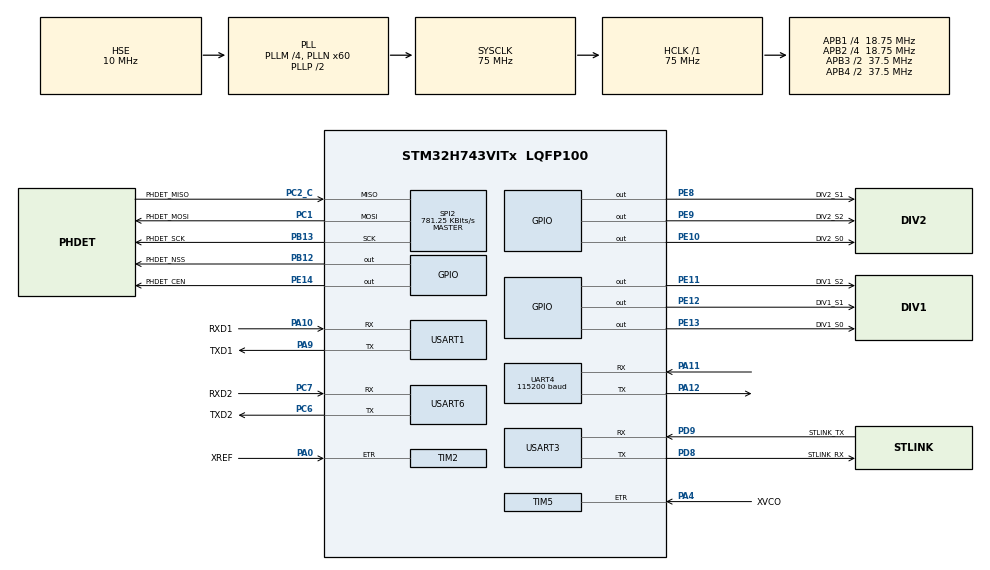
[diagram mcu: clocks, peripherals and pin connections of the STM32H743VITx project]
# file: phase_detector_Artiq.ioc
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CORTEX_M7.CPU_DCache=Disabled
CORTEX_M7.CPU_ICache=Disabled
CORTEX_M7.MPU_Control=__NULL
CORTEX_M7.default_mode_Activation=0
Mcu.Family=STM32H7
Mcu.Name=STM32H743VITx
Mcu.Package=LQFP100
NVIC.PriorityGroup=NVIC_PRIORITYGROUP_4
NVIC.TIM6_DAC_IRQn=true\:0\:0\:false\:false\:true\:true\:true\:true
PA0.GPIO_Label=XREF
PA0.GPIO_Speed=GPIO_SPEED_FREQ_VERY_HIGH
PA0.Signal=S_TIM2_CH1_ETR
PA10.GPIO_Label=RXD1
PA10.Mode=Asynchronous
PA10.Signal=USART1_RX
PA11.Mode=Asynchronous
PA11.Signal=UART4_RX
PA12.Mode=Asynchronous
PA12.Signal=UART4_TX
PA13\ (JTMS/SWDIO).Mode=JTAG_4_pins
PA13\ (JTMS/SWDIO).Signal=DEBUG_JTMS-SWDIO
PA14\ (JTCK/SWCLK).Mode=JTAG_4_pins
PA14\ (JTCK/SWCLK).Signal=DEBUG_JTCK-SWCLK
PA15\ (JTDI).Mode=JTAG_4_pins
PA15\ (JTDI).Signal=DEBUG_JTDI
PA4.GPIO_Label=XVCO
PA4.Signal=S_TIM5_ETR
PA9.GPIO_Label=TXD1
PA9.Mode=Asynchronous
PA9.Signal=USART1_TX
PB12.GPIO_Label=PHDET_NSS
PB12.Signal=GPIO_Output
PB13.GPIO_Label=PHDET_SCK
PB13.Mode=Full_Duplex_Master
PB13.Signal=SPI2_SCK
PB3\ (JTDO/TRACESWO).Mode=JTAG_4_pins
PB3\ (JTDO/TRACESWO).Signal=DEBUG_JTDO-SWO
PC1.GPIO_Label=PHDET_MOSI
PC1.Mode=Full_Duplex_Master
PC1.Signal=SPI2_MOSI
PC2_C.GPIO_Label=PHDET_MISO
PC2_C.Mode=Full_Duplex_Master
PC2_C.Signal=SPI2_MISO
PC6.GPIO_Label=TXD2
PC6.Mode=Asynchronous
PC6.Signal=USART6_TX
PC7.GPIO_Label=RXD2
PC7.Mode=Asynchronous
PC7.Signal=USART6_RX
PD8.GPIO_Label=STLINK_RX
PD8.Mode=Asynchronous
PD8.Signal=USART3_TX
PD9.GPIO_Label=STLINK_TX
PD9.Mode=Asynchronous
PD9.Signal=USART3_RX
PE10.GPIO_Label=DIV2_S0
PE10.GPIO_PuPd=GPIO_PULLDOWN
PE10.PinState=GPIO_PIN_SET
PE10.Signal=GPIO_Output
PE11.GPIO_Label=DIV1_S2
PE11.GPIO_PuPd=GPIO_PULLDOWN
PE11.PinState=GPIO_PIN_SET
PE11.Signal=GPIO_Output
PE12.GPIO_Label=DIV1_S1
PE12.GPIO_PuPd=GPIO_PULLDOWN
PE12.PinState=GPIO_PIN_SET
PE12.Signal=GPIO_Output
PE13.GPIO_Label=DIV1_S0
PE13.GPIO_PuPd=GPIO_PULLDOWN
PE13.PinState=GPIO_PIN_SET
PE13.Signal=GPIO_Output
PE14.GPIO_Label=PHDET_CEN
PE14.GPIO_PuPd=GPIO_PULLUP
PE14.PinState=GPIO_PIN_SET
PE14.Signal=GPIO_Output
PE8.GPIO_Label=DIV2_S1
PE8.GPIO_PuPd=GPIO_PULLDOWN
PE8.PinState=GPIO_PIN_SET
PE8.Signal=GPIO_Output
PE9.GPIO_Label=DIV2_S2
PE9.GPIO_PuPd=GPIO_PULLDOWN
PE9.PinState=GPIO_PIN_SET
PE9.Signal=GPIO_Output
PH0-OSC_IN\ (PH0).Mode=HSE-External-Oscillator
PH0-OSC_IN\ (PH0).Signal=RCC_OSC_IN
PH1-OSC_OUT\ (PH1).Mode=HSE-External-Oscillator
PH1-OSC_OUT\ (PH1).Signal=RCC_OSC_OUT
ProjectManager.HeapSize=0x200
ProjectManager.StackSize=0x400
ProjectManager.TargetToolchain=STM32CubeIDE
RCC.ADCFreq_Value=90000000
RCC.APB1Freq_Value=18750000
RCC.APB2Freq_Value=18750000
RCC.APB3Freq_Value=37500000
RCC.APB4Freq_Value=37500000
RCC.CortexFreq_Value=75000000
RCC.D1PPRE=RCC_APB3_DIV2
RCC.D2PPRE1=RCC_APB1_DIV4
RCC.D2PPRE2=RCC_APB2_DIV4
RCC.D3PPRE=RCC_APB4_DIV2
RCC.DIVM1=4
RCC.DIVM2=1
RCC.DIVN1=60
RCC.DIVN2=18
RCC.DIVQ1=3
RCC.HCLKFreq_Value=75000000
RCC.HSE_VALUE=10000000
RCC.HSIDiv=RCC_PLLSAIDIVR_2
RCC.PLLFRACN=0
RCC.PLLSourceVirtual=RCC_PLLSOURCE_HSE
RCC.SYSCLKFreq_VALUE=75000000
RCC.SYSCLKSource=RCC_SYSCLKSOURCE_PLLCLK
RCC.USBFreq_Value=50000000
SH.S_TIM2_CH1_ETR.0=TIM2_ETR,ClockSourceETR_Mode2
SH.S_TIM5_ETR.0=TIM5_ETR,ClockSourceETR_Mode2
SPI2.BaudRatePrescaler=SPI_BAUDRATEPRESCALER_64
SPI2.CalculateBaudRate=781.25 KBits/s
SPI2.DataSize=SPI_DATASIZE_8BIT
SPI2.Direction=SPI_DIRECTION_2LINES
SPI2.Mode=SPI_MODE_MASTER
SPI2.VirtualType=VM_MASTER
TIM2.ClockFilter=0
TIM6.Period=1000
TIM6.Prescaler=75
UART4.BaudRate=115200
UART4.WordLength=WORDLENGTH_8B
USART1.VirtualMode-Asynchronous=VM_ASYNC
USART3.VirtualMode-Asynchronous=VM_ASYNC
USART6.VirtualMode=VM_ASYNC
VP_MEMORYMAP_VS_MEMORYMAP.Mode=CurAppReg
VP_TIM6_VS_ClockSourceINT.Mode=Enable_Timer
board=NUCLEO-H743ZI2

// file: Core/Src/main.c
/* USER CODE BEGIN Header */
/**
  ******************************************************************************
  * @file           : main.c
  * @brief          : Main program body
  ******************************************************************************
  * @attention
  *
  * Copyright (c) 2024 STMicroelectronics.
  * All rights reserved.
  *
  * This software is licensed under terms that can be found in the LICENSE file
  * in the root directory of this software component.
  * If no LICENSE file comes with this software, it is provided AS-IS.
  *
  ******************************************************************************
  */
/* USER CODE END Header */
#include "main.h"

/* USER CODE BEGIN Includes */
#include "interface.h"
/* USER CODE END Includes */

/* USER CODE BEGIN PD */
#define FLASH_PARAM_START_ADDR  ((uint32_t)0x081E0000)  // bank 2, sektor 7
#define FLASH_WORD_SIZE        (32)  // Flash word = 256-bit = 32 bytes
#define BUFFER_SIZE 100
#define MAX(a,b) (((a)>(b))?(a):(b))
/* USER CODE END PD */

SPI_HandleTypeDef hspi2;

TIM_HandleTypeDef htim2;
TIM_HandleTypeDef htim5;
TIM_HandleTypeDef htim6;

UART_HandleTypeDef huart4;
UART_HandleTypeDef huart1;
UART_HandleTypeDef huart3;
UART_HandleTypeDef huart6;

/* USER CODE BEGIN PV */

void Flash_Write_Params(uint32_t address, parameters *data) {
  HAL_FLASH_Unlock();  // Odblokowanie pamięci flash

  FLASH_EraseInitTypeDef eraseInitStruct;
  uint32_t sectorError;

  // Kasowanie sektora przed zapisem
  eraseInitStruct.TypeErase    = FLASH_TYPEERASE_SECTORS;
  eraseInitStruct.Banks        = FLASH_BANK_2;  // **Bank 2**
  eraseInitStruct.Sector       = FLASH_SECTOR_7;  // **Sektor 7**
  eraseInitStruct.NbSectors    = 1;
  eraseInitStruct.VoltageRange = FLASH_VOLTAGE_RANGE_3;

  if (HAL_FLASHEx_Erase(&eraseInitStruct, &sectorError) != HAL_OK) {
      HAL_FLASH_Lock();
      return;  // Błąd kasowania
  }

  uint64_t *data_ptr = (uint64_t*)data;
  uint64_t flash_word[4];
  for (uint32_t i = 0; i < sizeof(parameters) / 8; i += 4) {
      flash_word[0] = (i < sizeof(parameters) / 8) ? data_ptr[i] : 0xFFFFFFFFFFFFFFFF;
      flash_word[1] = (i + 1 < sizeof(parameters) / 8) ? data_ptr[i + 1] : 0xFFFFFFFFFFFFFFFF;
      flash_word[2] = (i + 2 < sizeof(parameters) / 8) ? data_ptr[i + 2] : 0xFFFFFFFFFFFFFFFF;
      flash_word[3] = (i + 3 < sizeof(parameters) / 8) ? data_ptr[i + 3] : 0xFFFFFFFFFFFFFFFF;

      if (HAL_FLASH_Program(FLASH_TYPEPROGRAM_FLASHWORD, address + i * 8, (uint64_t)flash_word) != HAL_OK) {
          HAL_FLASH_Lock();
          return;  // Błąd zapisu
      }
  }

  HAL_FLASH_Lock();  // Zablokowanie pamięci flash
}

void Flash_Read_Params(uint32_t address, parameters *data) {
  memcpy(data, (void*)address, sizeof(parameters));  // Odczytaj całą strukturę
}

uint32_t Flash_Read_Version(uint32_t address) {
  return *(volatile double*)address;  // Odczytaj pierwsze 4 bajty
}

/* USER CODE END PV */

void SystemClock_Config(void);
static void MX_GPIO_Init(void);
static void MX_USART3_UART_Init(void);
static void MX_UART4_Init(void);
static void MX_USART1_UART_Init(void);
static void MX_USART6_UART_Init(void);
static void MX_TIM2_Init(void);
static void MX_TIM6_Init(void);
static void MX_SPI2_Init(void);
static void MX_TIM5_Init(void);
/* USER CODE BEGIN PFP */
void ExtractMessage(char* rxBuffer, char* txBuffer);
void SetDiv(uint8_t number, uint8_t div);
void HMC984_WriteRegister(uint32_t data, uint8_t address);
uint32_t HMC984_ReadRegister(uint8_t address);

uint8_t rxChar;
  uint8_t rxBuffer[BUFFER_SIZE];
  uint8_t txBuffer[BUFFER_SIZE];
  uint8_t tmpBuffer[BUFFER_SIZE];
  uint16_t index = 0;
  uint8_t helloMsg[] = "\nPhDet>";
  HAL_StatusTypeDef status;
  static uint32_t last_cnt = 0;

/* USER CODE END PFP */

/* USER CODE BEGIN 0 */
extern parameters par;
/* USER CODE END 0 */

int main(void)
{

  /* MCU Configuration--------------------------------------------------------*/

  /* Reset of all peripherals, Initializes the Flash interface and the Systick. */
  HAL_Init();

  /* Configure the system clock */
  SystemClock_Config();

  /* Initialize all configured peripherals */
  MX_GPIO_Init();
  MX_USART3_UART_Init();
  MX_UART4_Init();
  MX_USART1_UART_Init();
  MX_USART6_UART_Init();
  MX_TIM2_Init();
  MX_TIM6_Init();
  MX_SPI2_Init();
  MX_TIM5_Init();
  /* USER CODE BEGIN 2 */
  initInterface();

  // read par from flash
  if (par.version != Flash_Read_Version(FLASH_PARAM_START_ADDR)){
    Flash_Write_Params(FLASH_PARAM_START_ADDR, &par);
  }
  else{
    Flash_Read_Params(FLASH_PARAM_START_ADDR, &par);
  }

  HAL_UART_Transmit(&huart4, (uint8_t*)"\r\nPhDet ready\r\n", 15, HAL_MAX_DELAY);

  par.ref.f.val = 0.0f;

  // Start licznika z zewnętrznym zegarem na ETR (PA0)
  HAL_TIM_Base_Start(&htim2);
  HAL_TIM_Base_Start(&htim5);

  // Start okna 100 ms (przerwania)
  HAL_TIM_Base_Start_IT(&htim6);

  // Na start wyzeruj licznik i punkt odniesienia
  __HAL_TIM_SET_COUNTER(&htim2, 0);
  last_cnt = 0;

  /* USER CODE END 2 */

  /* Infinite loop */
  /* USER CODE BEGIN WHILE */
  while (1)
  {
	  status = HAL_UART_Receive(&huart4, &rxChar, 1, HAL_MAX_DELAY);
	  	  	  if (status == HAL_OK)
	  	  	  {
	  	  		  if ((rxChar == '\r' || rxChar == '\n') && index>0){
	  	  			  rxBuffer[index++]='\n';
	  	  			  rxBuffer[index++]='\0';
	  	  			  ExtractMessage((char*) rxBuffer, (char*) txBuffer);
//	  	  			  strcpy(tmpBuffer, helloMsg);
	  	  			  // strcat(tmpBuffer, txBuffer);
	  	  			  // strcpy(txBuffer, tmpBuffer);

	  	  			  HAL_UART_Transmit(&huart4, txBuffer, strlen(txBuffer), HAL_MAX_DELAY);
	  	  			  HAL_UART_Transmit(&huart4, helloMsg, strlen(helloMsg), HAL_MAX_DELAY);
	  	  			  index=0;
	  	  		  }
	  	  		  else{
	  	  			  rxBuffer[index++] = rxChar;
	  	  			  if (index >= BUFFER_SIZE) index = 0;
	  	  		  }
	  	  	  }

    /* USER CODE END WHILE */

  }
}

void SystemClock_Config(void)
{
  RCC_OscInitTypeDef RCC_OscInitStruct = {0};
  RCC_ClkInitTypeDef RCC_ClkInitStruct = {0};

  /** Supply configuration update enable
  */
  HAL_PWREx_ConfigSupply(PWR_LDO_SUPPLY);

  /** Configure the main internal regulator output voltage
  */
  __HAL_PWR_VOLTAGESCALING_CONFIG(PWR_REGULATOR_VOLTAGE_SCALE3);

  while(!__HAL_PWR_GET_FLAG(PWR_FLAG_VOSRDY)) {}

  /** Initializes the RCC Oscillators according to the specified parameters
  * in the RCC_OscInitTypeDef structure.
  */
  RCC_OscInitStruct.OscillatorType = RCC_OSCILLATORTYPE_HSE;
  RCC_OscInitStruct.HSEState = RCC_HSE_ON;
  RCC_OscInitStruct.PLL.PLLState = RCC_PLL_ON;
  RCC_OscInitStruct.PLL.PLLSource = RCC_PLLSOURCE_HSE;
  RCC_OscInitStruct.PLL.PLLM = 4;
  RCC_OscInitStruct.PLL.PLLN = 60;
  RCC_OscInitStruct.PLL.PLLP = 2;
  RCC_OscInitStruct.PLL.PLLQ = 3;
  RCC_OscInitStruct.PLL.PLLR = 2;
  RCC_OscInitStruct.PLL.PLLRGE = RCC_PLL1VCIRANGE_1;
  RCC_OscInitStruct.PLL.PLLVCOSEL = RCC_PLL1VCOMEDIUM;
  RCC_OscInitStruct.PLL.PLLFRACN = 0;
  if (HAL_RCC_OscConfig(&RCC_OscInitStruct) != HAL_OK)
  {
    Error_Handler();
  }

  /** Initializes the CPU, AHB and APB buses clocks
  */
  RCC_ClkInitStruct.ClockType = RCC_CLOCKTYPE_HCLK|RCC_CLOCKTYPE_SYSCLK
                              |RCC_CLOCKTYPE_PCLK1|RCC_CLOCKTYPE_PCLK2
                              |RCC_CLOCKTYPE_D3PCLK1|RCC_CLOCKTYPE_D1PCLK1;
  RCC_ClkInitStruct.SYSCLKSource = RCC_SYSCLKSOURCE_PLLCLK;
  RCC_ClkInitStruct.SYSCLKDivider = RCC_SYSCLK_DIV1;
  RCC_ClkInitStruct.AHBCLKDivider = RCC_HCLK_DIV1;
  RCC_ClkInitStruct.APB3CLKDivider = RCC_APB3_DIV2;
  RCC_ClkInitStruct.APB1CLKDivider = RCC_APB1_DIV4;
  RCC_ClkInitStruct.APB2CLKDivider = RCC_APB2_DIV4;
  RCC_ClkInitStruct.APB4CLKDivider = RCC_APB4_DIV2;

  if (HAL_RCC_ClockConfig(&RCC_ClkInitStruct, FLASH_LATENCY_1) != HAL_OK)
  {
    Error_Handler();
  }
}

static void MX_SPI2_Init(void)
{

  /* SPI2 parameter configuration*/
  hspi2.Instance = SPI2;
  hspi2.Init.Mode = SPI_MODE_MASTER;
  hspi2.Init.Direction = SPI_DIRECTION_2LINES;
  hspi2.Init.DataSize = SPI_DATASIZE_8BIT;
  hspi2.Init.CLKPolarity = SPI_POLARITY_LOW;
  hspi2.Init.CLKPhase = SPI_PHASE_1EDGE;
  hspi2.Init.NSS = SPI_NSS_SOFT;
  hspi2.Init.BaudRatePrescaler = SPI_BAUDRATEPRESCALER_64;
  hspi2.Init.FirstBit = SPI_FIRSTBIT_MSB;
  hspi2.Init.TIMode = SPI_TIMODE_DISABLE;
  hspi2.Init.CRCCalculation = SPI_CRCCALCULATION_DISABLE;
  hspi2.Init.CRCPolynomial = 0x0;
  hspi2.Init.NSSPMode = SPI_NSS_PULSE_ENABLE;
  hspi2.Init.NSSPolarity = SPI_NSS_POLARITY_LOW;
  hspi2.Init.FifoThreshold = SPI_FIFO_THRESHOLD_01DATA;
  hspi2.Init.TxCRCInitializationPattern = SPI_CRC_INITIALIZATION_ALL_ZERO_PATTERN;
  hspi2.Init.RxCRCInitializationPattern = SPI_CRC_INITIALIZATION_ALL_ZERO_PATTERN;
  hspi2.Init.MasterSSIdleness = SPI_MASTER_SS_IDLENESS_00CYCLE;
  hspi2.Init.MasterInterDataIdleness = SPI_MASTER_INTERDATA_IDLENESS_00CYCLE;
  hspi2.Init.MasterReceiverAutoSusp = SPI_MASTER_RX_AUTOSUSP_DISABLE;
  hspi2.Init.MasterKeepIOState = SPI_MASTER_KEEP_IO_STATE_DISABLE;
  hspi2.Init.IOSwap = SPI_IO_SWAP_DISABLE;
  if (HAL_SPI_Init(&hspi2) != HAL_OK)
  {
    Error_Handler();
  }

}

static void MX_TIM2_Init(void)
{

  TIM_ClockConfigTypeDef sClockSourceConfig = {0};
  TIM_MasterConfigTypeDef sMasterConfig = {0};

  htim2.Instance = TIM2;
  htim2.Init.Prescaler = 0;
  htim2.Init.CounterMode = TIM_COUNTERMODE_UP;
  htim2.Init.Period = 4294967295;
  htim2.Init.ClockDivision = TIM_CLOCKDIVISION_DIV1;
  htim2.Init.AutoReloadPreload = TIM_AUTORELOAD_PRELOAD_DISABLE;
  if (HAL_TIM_Base_Init(&htim2) != HAL_OK)
  {
    Error_Handler();
  }
  sClockSourceConfig.ClockSource = TIM_CLOCKSOURCE_ETRMODE2;
  sClockSourceConfig.ClockPolarity = TIM_CLOCKPOLARITY_NONINVERTED;
  sClockSourceConfig.ClockPrescaler = TIM_CLOCKPRESCALER_DIV1;
  sClockSourceConfig.ClockFilter = 0;
  if (HAL_TIM_ConfigClockSource(&htim2, &sClockSourceConfig) != HAL_OK)
  {
    Error_Handler();
  }
  sMasterConfig.MasterOutputTrigger = TIM_TRGO_RESET;
  sMasterConfig.MasterSlaveMode = TIM_MASTERSLAVEMODE_DISABLE;
  if (HAL_TIMEx_MasterConfigSynchronization(&htim2, &sMasterConfig) != HAL_OK)
  {
    Error_Handler();
  }

}

static void MX_TIM5_Init(void)
{

  TIM_ClockConfigTypeDef sClockSourceConfig = {0};
  TIM_MasterConfigTypeDef sMasterConfig = {0};

  htim5.Instance = TIM5;
  htim5.Init.Prescaler = 0;
  htim5.Init.CounterMode = TIM_COUNTERMODE_UP;
  htim5.Init.Period = 4294967295;
  htim5.Init.ClockDivision = TIM_CLOCKDIVISION_DIV1;
  htim5.Init.AutoReloadPreload = TIM_AUTORELOAD_PRELOAD_DISABLE;
  if (HAL_TIM_Base_Init(&htim5) != HAL_OK)
  {
    Error_Handler();
  }
  sClockSourceConfig.ClockSource = TIM_CLOCKSOURCE_ETRMODE2;
  sClockSourceConfig.ClockPolarity = TIM_CLOCKPOLARITY_NONINVERTED;
  sClockSourceConfig.ClockPrescaler = TIM_CLOCKPRESCALER_DIV1;
  sClockSourceConfig.ClockFilter = 0;
  if (HAL_TIM_ConfigClockSource(&htim5, &sClockSourceConfig) != HAL_OK)
  {
    Error_Handler();
  }
  sMasterConfig.MasterOutputTrigger = TIM_TRGO_RESET;
  sMasterConfig.MasterSlaveMode = TIM_MASTERSLAVEMODE_DISABLE;
  if (HAL_TIMEx_MasterConfigSynchronization(&htim5, &sMasterConfig) != HAL_OK)
  {
    Error_Handler();
  }

}

static void MX_TIM6_Init(void)
{

  TIM_MasterConfigTypeDef sMasterConfig = {0};

  htim6.Instance = TIM6;
  htim6.Init.Prescaler = 75;
  htim6.Init.CounterMode = TIM_COUNTERMODE_UP;
  htim6.Init.Period = 1000;
  htim6.Init.AutoReloadPreload = TIM_AUTORELOAD_PRELOAD_DISABLE;
  if (HAL_TIM_Base_Init(&htim6) != HAL_OK)
  {
    Error_Handler();
  }
  sMasterConfig.MasterOutputTrigger = TIM_TRGO_RESET;
  sMasterConfig.MasterSlaveMode = TIM_MASTERSLAVEMODE_DISABLE;
  if (HAL_TIMEx_MasterConfigSynchronization(&htim6, &sMasterConfig) != HAL_OK)
  {
    Error_Handler();
  }

}

static void MX_UART4_Init(void)
{

  huart4.Instance = UART4;
  huart4.Init.BaudRate = 115200;
  huart4.Init.WordLength = UART_WORDLENGTH_8B;
  huart4.Init.StopBits = UART_STOPBITS_1;
  huart4.Init.Parity = UART_PARITY_NONE;
  huart4.Init.Mode = UART_MODE_TX_RX;
  huart4.Init.HwFlowCtl = UART_HWCONTROL_NONE;
  huart4.Init.OverSampling = UART_OVERSAMPLING_16;
  huart4.Init.OneBitSampling = UART_ONE_BIT_SAMPLE_DISABLE;
  huart4.Init.ClockPrescaler = UART_PRESCALER_DIV1;
  huart4.AdvancedInit.AdvFeatureInit = UART_ADVFEATURE_NO_INIT;
  if (HAL_UART_Init(&huart4) != HAL_OK)
  {
    Error_Handler();
  }
  if (HAL_UARTEx_SetTxFifoThreshold(&huart4, UART_TXFIFO_THRESHOLD_1_8) != HAL_OK)
  {
    Error_Handler();
  }
  if (HAL_UARTEx_SetRxFifoThreshold(&huart4, UART_RXFIFO_THRESHOLD_1_8) != HAL_OK)
  {
    Error_Handler();
  }
  if (HAL_UARTEx_DisableFifoMode(&huart4) != HAL_OK)
  {
    Error_Handler();
  }

}

static void MX_USART1_UART_Init(void)
{

  huart1.Instance = USART1;
  huart1.Init.BaudRate = 115200;
  huart1.Init.WordLength = UART_WORDLENGTH_8B;
  huart1.Init.StopBits = UART_STOPBITS_1;
  huart1.Init.Parity = UART_PARITY_NONE;
  huart1.Init.Mode = UART_MODE_TX_RX;
  huart1.Init.HwFlowCtl = UART_HWCONTROL_NONE;
  huart1.Init.OverSampling = UART_OVERSAMPLING_16;
  huart1.Init.OneBitSampling = UART_ONE_BIT_SAMPLE_DISABLE;
  huart1.Init.ClockPrescaler = UART_PRESCALER_DIV1;
  huart1.AdvancedInit.AdvFeatureInit = UART_ADVFEATURE_NO_INIT;
  if (HAL_UART_Init(&huart1) != HAL_OK)
  {
    Error_Handler();
  }
  if (HAL_UARTEx_SetTxFifoThreshold(&huart1, UART_TXFIFO_THRESHOLD_1_8) != HAL_OK)
  {
    Error_Handler();
  }
  if (HAL_UARTEx_SetRxFifoThreshold(&huart1, UART_RXFIFO_THRESHOLD_1_8) != HAL_OK)
  {
    Error_Handler();
  }
  if (HAL_UARTEx_DisableFifoMode(&huart1) != HAL_OK)
  {
    Error_Handler();
  }

}

static void MX_USART3_UART_Init(void)
{

  huart3.Instance = USART3;
  huart3.Init.BaudRate = 115200;
  huart3.Init.WordLength = UART_WORDLENGTH_8B;
  huart3.Init.StopBits = UART_STOPBITS_1;
  huart3.Init.Parity = UART_PARITY_NONE;
  huart3.Init.Mode = UART_MODE_TX_RX;
  huart3.Init.HwFlowCtl = UART_HWCONTROL_NONE;
  huart3.Init.OverSampling = UART_OVERSAMPLING_16;
  huart3.Init.OneBitSampling = UART_ONE_BIT_SAMPLE_DISABLE;
  huart3.Init.ClockPrescaler = UART_PRESCALER_DIV1;
  huart3.AdvancedInit.AdvFeatureInit = UART_ADVFEATURE_NO_INIT;
  if (HAL_UART_Init(&huart3) != HAL_OK)
  {
    Error_Handler();
  }
  if (HAL_UARTEx_SetTxFifoThreshold(&huart3, UART_TXFIFO_THRESHOLD_1_8) != HAL_OK)
  {
    Error_Handler();
  }
  if (HAL_UARTEx_SetRxFifoThreshold(&huart3, UART_RXFIFO_THRESHOLD_1_8) != HAL_OK)
  {
    Error_Handler();
  }
  if (HAL_UARTEx_DisableFifoMode(&huart3) != HAL_OK)
  {
    Error_Handler();
  }

}

static void MX_USART6_UART_Init(void)
{

  huart6.Instance = USART6;
  huart6.Init.BaudRate = 115200;
  huart6.Init.WordLength = UART_WORDLENGTH_8B;
  huart6.Init.StopBits = UART_STOPBITS_1;
  huart6.Init.Parity = UART_PARITY_NONE;
  huart6.Init.Mode = UART_MODE_TX_RX;
  huart6.Init.HwFlowCtl = UART_HWCONTROL_NONE;
  huart6.Init.OverSampling = UART_OVERSAMPLING_16;
  huart6.Init.OneBitSampling = UART_ONE_BIT_SAMPLE_DISABLE;
  huart6.Init.ClockPrescaler = UART_PRESCALER_DIV1;
  huart6.AdvancedInit.AdvFeatureInit = UART_ADVFEATURE_NO_INIT;
  if (HAL_UART_Init(&huart6) != HAL_OK)
  {
    Error_Handler();
  }
  if (HAL_UARTEx_SetTxFifoThreshold(&huart6, UART_TXFIFO_THRESHOLD_1_8) != HAL_OK)
  {
    Error_Handler();
  }
  if (HAL_UARTEx_SetRxFifoThreshold(&huart6, UART_RXFIFO_THRESHOLD_1_8) != HAL_OK)
  {
    Error_Handler();
  }
  if (HAL_UARTEx_DisableFifoMode(&huart6) != HAL_OK)
  {
    Error_Handler();
  }

}

static void MX_GPIO_Init(void)
{
  GPIO_InitTypeDef GPIO_InitStruct = {0};

  /* GPIO Ports Clock Enable */
  __HAL_RCC_GPIOH_CLK_ENABLE();
  __HAL_RCC_GPIOC_CLK_ENABLE();
  __HAL_RCC_GPIOA_CLK_ENABLE();
  __HAL_RCC_GPIOE_CLK_ENABLE();
  __HAL_RCC_GPIOB_CLK_ENABLE();
  __HAL_RCC_GPIOD_CLK_ENABLE();

  /*Configure GPIO pin Output Level */
  HAL_GPIO_WritePin(GPIOE, DIV2_S1_Pin|DIV2_S2_Pin|DIV2_S0_Pin|DIV1_S2_Pin
                          |DIV1_S1_Pin|DIV1_S0_Pin|PHDET_CEN_Pin, GPIO_PIN_SET);

  /*Configure GPIO pin Output Level */
  HAL_GPIO_WritePin(PHDET_NSS_GPIO_Port, PHDET_NSS_Pin, GPIO_PIN_RESET);

  /*Configure GPIO pins : DIV2_S1_Pin DIV2_S2_Pin DIV2_S0_Pin DIV1_S2_Pin
                           DIV1_S1_Pin DIV1_S0_Pin */
  GPIO_InitStruct.Pin = DIV2_S1_Pin|DIV2_S2_Pin|DIV2_S0_Pin|DIV1_S2_Pin
                          |DIV1_S1_Pin|DIV1_S0_Pin;
  GPIO_InitStruct.Mode = GPIO_MODE_OUTPUT_PP;
  GPIO_InitStruct.Pull = GPIO_PULLDOWN;
  GPIO_InitStruct.Speed = GPIO_SPEED_FREQ_LOW;
  HAL_GPIO_Init(GPIOE, &GPIO_InitStruct);

  /*Configure GPIO pin : PHDET_CEN_Pin */
  GPIO_InitStruct.Pin = PHDET_CEN_Pin;
  GPIO_InitStruct.Mode = GPIO_MODE_OUTPUT_PP;
  GPIO_InitStruct.Pull = GPIO_PULLUP;
  GPIO_InitStruct.Speed = GPIO_SPEED_FREQ_LOW;
  HAL_GPIO_Init(PHDET_CEN_GPIO_Port, &GPIO_InitStruct);

  /*Configure GPIO pin : PHDET_NSS_Pin */
  GPIO_InitStruct.Pin = PHDET_NSS_Pin;
  GPIO_InitStruct.Mode = GPIO_MODE_OUTPUT_PP;
  GPIO_InitStruct.Pull = GPIO_NOPULL;
  GPIO_InitStruct.Speed = GPIO_SPEED_FREQ_LOW;
  HAL_GPIO_Init(PHDET_NSS_GPIO_Port, &GPIO_InitStruct);

}

/* USER CODE BEGIN 4 */

void HAL_TIM_PeriodElapsedCallback(TIM_HandleTypeDef *htim)
{
    if (htim->Instance == TIM6) {

      uint32_t cnt_ref = __HAL_TIM_GET_COUNTER(&htim2);
    __HAL_TIM_SET_COUNTER(&htim2, 0);

    uint32_t cnt_osc = __HAL_TIM_GET_COUNTER(&htim5);
    __HAL_TIM_SET_COUNTER(&htim5, 0);

    par.ref.f.val = (double) cnt_ref;
    par.osc.f.val = (double) cnt_osc;

      if (par.pd.read.val > 0) {
          par.pd.rval.val = HMC984_ReadRegister((uint8_t)par.pd.reg.val);
          par.pd.read.val = 0;
      }
      if (par.pd.write.val > 0) {
          HMC984_WriteRegister((uint32_t)par.pd.wval.val, (uint8_t)par.pd.reg.val);
          par.pd.write.val = 0;
      }
    }
}

void HMC984_WriteRegister(uint32_t data, uint8_t address) {
    uint8_t buffer[5];  // 40-bits
    uint8_t chip_address = 0b000;

    buffer[0] = (data >> 22) & 0xFF; // MSB
    buffer[1] = (data >> 14) & 0xFF;
    buffer[2] = (data >> 6) & 0xFF;
    buffer[3] = (data & 0x3F) << 2; //LSB
    buffer[3] |= (address >> 5) & 0x03;
    // buffer[4] = (address << 3) | chip_address;
    buffer[4] = (address << 3) | (chip_address & 0b100);

  //  HAL_GPIO_WritePin(PHDET_CEN_GPIO_Port, PHDET_CEN_Pin, GPIO_PIN_SET);
    HAL_GPIO_WritePin(PHDET_NSS_GPIO_Port, PHDET_NSS_Pin, GPIO_PIN_RESET);

    HAL_SPI_Transmit(&hspi2, buffer, 5, HAL_MAX_DELAY);

    HAL_GPIO_WritePin(PHDET_NSS_GPIO_Port, PHDET_NSS_Pin, GPIO_PIN_SET);
  //  HAL_GPIO_WritePin(PHDET_CEN_GPIO_Port, PHDET_CEN_Pin, GPIO_PIN_RESET);
}

uint32_t HMC984_ReadRegister(uint8_t address) {
    uint8_t tx_buffer[5] = {0};
    uint8_t rx_buffer[5];
    uint32_t received_data = 0;

    // Phase 1: set reg addr to Reg 00h
    // HMC984_WriteRegister(0, address);
    HMC984_WriteRegister(address & 0x7F, 0x00);

    // Phase 2: read data
  //  HAL_GPIO_WritePin(PHDET_CEN_GPIO_Port, PHDET_CEN_Pin, GPIO_PIN_SET);
    HAL_GPIO_WritePin(PHDET_NSS_GPIO_Port, PHDET_NSS_Pin, GPIO_PIN_RESET);

    HAL_SPI_TransmitReceive(&hspi2, tx_buffer, rx_buffer, 5, HAL_MAX_DELAY);

    HAL_GPIO_WritePin(PHDET_NSS_GPIO_Port, PHDET_NSS_Pin, GPIO_PIN_SET);
  //  HAL_GPIO_WritePin(PHDET_CEN_GPIO_Port, PHDET_CEN_Pin, GPIO_PIN_RESET);

    // received_data = ((uint32_t)rx_buffer[0] << 22) | ((uint32_t)rx_buffer[1] << 14) |
    //                     ((uint32_t)rx_buffer[2] << 6) | ((uint32_t)rx_buffer[3] >> 2);

    received_data = ((uint32_t)rx_buffer[0] << 23) | ((uint32_t)rx_buffer[1] << 15) |
                        ((uint32_t)rx_buffer[2] << 7) | ((uint32_t)rx_buffer[3] >> 1);

    return received_data;
}

void SetDiv(uint8_t number, uint8_t div)
{
  GPIO_PinState s0, s1, s2;

  if (div < 2) {
      div = 1;
      s0 = GPIO_PIN_SET;   s1 = GPIO_PIN_SET;   s2 = GPIO_PIN_SET;
  } else if (div < 4) {
      div = 2;
      s0 = GPIO_PIN_RESET; s1 = GPIO_PIN_SET;   s2 = GPIO_PIN_SET;
  } else if (div < 8) {
      div = 4;
      s0 = GPIO_PIN_SET;   s1 = GPIO_PIN_SET;   s2 = GPIO_PIN_RESET;
  } else if (div < 16) {
      div = 8;
      s0 = GPIO_PIN_SET;   s1 = GPIO_PIN_RESET; s2 = GPIO_PIN_RESET;
  } else {
      div = 16;
      s0 = GPIO_PIN_RESET; s1 = GPIO_PIN_RESET; s2 = GPIO_PIN_RESET;
  }

  if (number == 2) {
      HAL_GPIO_WritePin(DIV1_S0_GPIO_Port, DIV1_S0_Pin, s0);
      HAL_GPIO_WritePin(DIV1_S1_GPIO_Port, DIV1_S1_Pin, s1);
      HAL_GPIO_WritePin(DIV1_S2_GPIO_Port, DIV1_S2_Pin, s2);
  }
  if (number == 1) {
        HAL_GPIO_WritePin(DIV2_S0_GPIO_Port, DIV2_S0_Pin, s0);
        HAL_GPIO_WritePin(DIV2_S1_GPIO_Port, DIV2_S1_Pin, s1);
        HAL_GPIO_WritePin(DIV2_S2_GPIO_Port, DIV2_S2_Pin, s2);
  }
}

void ExtractMessage(char* rxBuffer, char* txBuffer)
{
    cmd_string_interpret(rxBuffer, txBuffer);
    txBuffer[BUFFER_SIZE - 1] = '\0';
    //update_array();
}

/* USER CODE END 4 */

void Error_Handler(void)
{
  __disable_irq();
  while (1)
  {
  }
}
